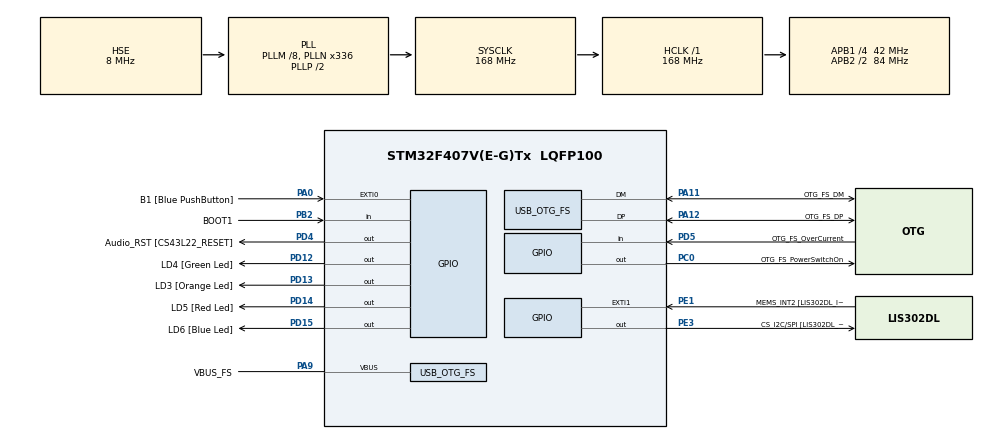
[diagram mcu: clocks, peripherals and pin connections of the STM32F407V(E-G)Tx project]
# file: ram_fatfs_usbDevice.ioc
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Mcu.Family=STM32F4
Mcu.Name=STM32F407V(E-G)Tx
Mcu.Package=LQFP100
NVIC.OTG_FS_IRQn=true\:0\:0\:false\:false\:true\:true\:true
NVIC.PriorityGroup=NVIC_PRIORITYGROUP_0
PA0-WKUP.GPIO_Label=B1 [Blue PushButton]
PA0-WKUP.GPIO_ModeDefaultEXTI=GPIO_MODE_EVT_RISING
PA0-WKUP.GPIO_PuPd=GPIO_NOPULL
PA0-WKUP.Signal=GPXTI0
PA10.GPIO_Label=OTG_FS_ID
PA10.GPIO_Mode=GPIO_MODE_AF_PP
PA10.GPIO_PuPd=GPIO_NOPULL
PA10.GPIO_Speed=GPIO_SPEED_FREQ_LOW
PA10.Signal=USB_OTG_FS_ID
PA11.GPIO_Label=OTG_FS_DM
PA11.GPIO_Mode=GPIO_MODE_AF_PP
PA11.GPIO_PuPd=GPIO_NOPULL
PA11.GPIO_Speed=GPIO_SPEED_FREQ_LOW
PA11.Mode=Device_Only
PA11.Signal=USB_OTG_FS_DM
PA12.GPIO_Label=OTG_FS_DP
PA12.GPIO_Mode=GPIO_MODE_AF_PP
PA12.GPIO_PuPd=GPIO_NOPULL
PA12.GPIO_Speed=GPIO_SPEED_FREQ_LOW
PA12.Mode=Device_Only
PA12.Signal=USB_OTG_FS_DP
PA13.GPIO_Label=SWDIO
PA13.Mode=Serial_Wire
PA13.Signal=SYS_JTMS-SWDIO
PA14.GPIO_Label=SWCLK
PA14.Mode=Serial_Wire
PA14.Signal=SYS_JTCK-SWCLK
PA4.GPIO_Label=I2S3_WS [CS43L22_LRCK]
PA4.GPIO_Mode=GPIO_MODE_AF_PP
PA4.GPIO_PuPd=GPIO_NOPULL
PA4.GPIO_Speed=GPIO_SPEED_FREQ_LOW
PA4.Signal=I2S3_WS
PA5.GPIO_Label=SPI1_SCK [LIS302DL_SCL/SPC]
PA5.GPIO_Mode=GPIO_MODE_AF_PP
PA5.GPIO_PuPd=GPIO_NOPULL
PA5.GPIO_Speed=GPIO_SPEED_FREQ_LOW
PA5.Signal=SPI1_SCK
PA6.GPIO_Label=SPI1_MISO [LIS302DL_SDO]
PA6.GPIO_Mode=GPIO_MODE_AF_PP
PA6.GPIO_PuPd=GPIO_NOPULL
PA6.GPIO_Speed=GPIO_SPEED_FREQ_LOW
PA6.Signal=SPI1_MISO
PA7.GPIO_Label=SPI1_MOSI [LIS302DL_SDA/SDI/SDO]
PA7.GPIO_Mode=GPIO_MODE_AF_PP
PA7.GPIO_PuPd=GPIO_NOPULL
PA7.GPIO_Speed=GPIO_SPEED_FREQ_LOW
PA7.Signal=SPI1_MOSI
PA9.GPIO_Label=VBUS_FS
PA9.GPIO_Mode=GPIO_MODE_INPUT
PA9.GPIO_PuPd=GPIO_NOPULL
PA9.Mode=Activate_VBUS
PA9.Signal=USB_OTG_FS_VBUS
PB10.GPIO_Label=CLK_IN [MP45DT02_CLK]
PB10.GPIO_Mode=GPIO_MODE_AF_PP
PB10.GPIO_PuPd=GPIO_NOPULL
PB10.GPIO_Speed=GPIO_SPEED_FREQ_LOW
PB10.Signal=I2S2_CK
PB2.GPIO_Label=BOOT1
PB2.GPIO_Mode=GPIO_MODE_INPUT
PB2.GPIO_PuPd=GPIO_NOPULL
PB2.Signal=GPIO_Input
PB3.GPIO_Label=SWO
PB3.Signal=SYS_JTDO-SWO
PB6.GPIO_Label=Audio_SCL [CS43L22_SCL]
PB6.GPIO_Mode=GPIO_MODE_AF_OD
PB6.GPIO_PuPd=GPIO_NOPULL
PB6.GPIO_Speed=GPIO_SPEED_FREQ_LOW
PB6.Signal=I2C1_SCL
PB9.GPIO_Label=Audio_SDA [CS43L22_SDA]
PB9.GPIO_Mode=GPIO_MODE_AF_OD
PB9.GPIO_PuPd=GPIO_NOPULL
PB9.GPIO_Speed=GPIO_SPEED_FREQ_LOW
PB9.Signal=I2C1_SDA
PC0.GPIO_Label=OTG_FS_PowerSwitchOn
PC0.GPIO_PuPd=GPIO_NOPULL
PC0.GPIO_Speed=GPIO_SPEED_FREQ_LOW
PC0.PinState=GPIO_PIN_SET
PC0.Signal=GPIO_Output
PC10.GPIO_Label=I2S3_SCK [CS43L22_SCLK]
PC10.GPIO_Mode=GPIO_MODE_AF_PP
PC10.GPIO_PuPd=GPIO_NOPULL
PC10.GPIO_Speed=GPIO_SPEED_FREQ_LOW
PC10.Signal=I2S3_CK
PC12.GPIO_Label=I2S3_SD [CS43L22_SDIN]
PC12.GPIO_Mode=GPIO_MODE_AF_PP
PC12.GPIO_PuPd=GPIO_NOPULL
PC12.GPIO_Speed=GPIO_SPEED_FREQ_LOW
PC12.Signal=I2S3_SD
PC14-OSC32_IN.GPIO_Label=PC14-OSC32_IN
PC14-OSC32_IN.Mode=LSE-External-Oscillator
PC14-OSC32_IN.Signal=RCC_OSC32_IN
PC15-OSC32_OUT.GPIO_Label=PC15-OSC32_OUT
PC15-OSC32_OUT.Mode=LSE-External-Oscillator
PC15-OSC32_OUT.Signal=RCC_OSC32_OUT
PC3.GPIO_Label=PDM_OUT [MP45DT02_DOUT]
PC3.GPIO_Mode=GPIO_MODE_AF_PP
PC3.GPIO_PuPd=GPIO_NOPULL
PC3.GPIO_Speed=GPIO_SPEED_FREQ_LOW
PC3.Signal=I2S2_SD
PC7.GPIO_Label=I2S3_MCK [CS43L22_MCLK]
PC7.GPIO_Mode=GPIO_MODE_AF_PP
PC7.GPIO_PuPd=GPIO_NOPULL
PC7.GPIO_Speed=GPIO_SPEED_FREQ_LOW
PC7.Signal=I2S3_MCK
PD12.GPIO_Label=LD4 [Green Led]
PD12.GPIO_PuPd=GPIO_NOPULL
PD12.GPIO_Speed=GPIO_SPEED_FREQ_LOW
PD12.Signal=GPIO_Output
PD13.GPIO_Label=LD3 [Orange Led]
PD13.GPIO_PuPd=GPIO_NOPULL
PD13.GPIO_Speed=GPIO_SPEED_FREQ_LOW
PD13.Signal=GPIO_Output
PD14.GPIO_Label=LD5 [Red Led]
PD14.GPIO_PuPd=GPIO_NOPULL
PD14.GPIO_Speed=GPIO_SPEED_FREQ_LOW
PD14.Signal=GPIO_Output
PD15.GPIO_Label=LD6 [Blue Led]
PD15.GPIO_PuPd=GPIO_NOPULL
PD15.GPIO_Speed=GPIO_SPEED_FREQ_LOW
PD15.Signal=GPIO_Output
PD4.GPIO_Label=Audio_RST [CS43L22_RESET]
PD4.GPIO_PuPd=GPIO_NOPULL
PD4.GPIO_Speed=GPIO_SPEED_FREQ_LOW
PD4.Signal=GPIO_Output
PD5.GPIO_Label=OTG_FS_OverCurrent
PD5.GPIO_Mode=GPIO_MODE_INPUT
PD5.GPIO_PuPd=GPIO_NOPULL
PD5.Signal=GPIO_Input
PE1.GPIO_Label=MEMS_INT2 [LIS302DL_INT2]
PE1.GPIO_ModeDefaultEXTI=GPIO_MODE_EVT_RISING
PE1.GPIO_PuPd=GPIO_NOPULL
PE1.Signal=GPXTI1
PE3.GPIO_Label=CS_I2C/SPI [LIS302DL_CS_I2C/SPI]
PE3.GPIO_PuPd=GPIO_NOPULL
PE3.GPIO_Speed=GPIO_SPEED_FREQ_LOW
PE3.Signal=GPIO_Output
PH0-OSC_IN.GPIO_Label=PH0-OSC_IN
PH0-OSC_IN.Mode=HSE-External-Oscillator
PH0-OSC_IN.Signal=RCC_OSC_IN
PH1-OSC_OUT.GPIO_Label=PH1-OSC_OUT
PH1-OSC_OUT.Mode=HSE-External-Oscillator
PH1-OSC_OUT.Signal=RCC_OSC_OUT
ProjectManager.HeapSize=0x400
ProjectManager.StackSize=0x400
ProjectManager.TargetToolchain=MDK-ARM V5.27
RCC.48MHZClocksFreq_Value=48000000
RCC.AHBFreq_Value=168000000
RCC.APB1CLKDivider=RCC_HCLK_DIV4
RCC.APB1Freq_Value=42000000
RCC.APB1TimFreq_Value=84000000
RCC.APB2CLKDivider=RCC_HCLK_DIV2
RCC.APB2Freq_Value=84000000
RCC.APB2TimFreq_Value=168000000
RCC.CortexFreq_Value=168000000
RCC.HCLKFreq_Value=168000000
RCC.HSE_VALUE=8000000
RCC.HSI_VALUE=16000000
RCC.PLLM=8
RCC.PLLN=336
RCC.PLLQ=7
RCC.SYSCLKFreq_VALUE=168000000
RCC.SYSCLKSource=RCC_SYSCLKSOURCE_PLLCLK
RCC.VCOOutputFreq_Value=336000000
USB_DEVICE.CLASS_NAME_FS=MSC
USB_DEVICE.VirtualMode-MSC_FS=Msc
USB_DEVICE.VirtualModeFS=Msc_FS
USB_OTG_FS.VirtualMode=Device_Only
VP_FATFS_VS_Generic.Mode=User_defined
VP_USB_DEVICE_VS_USB_DEVICE_MSC_FS.Mode=MSC_FS
board=STM32F407G-DISC1

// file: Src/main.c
/* USER CODE BEGIN Header */
/**
  ******************************************************************************
  * @file           : main.c
  * @brief          : Main program body
  ******************************************************************************
  * @attention
  *
  * <h2><center>&copy; Copyright (c) 2019 STMicroelectronics.
  * All rights reserved.</center></h2>
  *
  * This software component is licensed by ST under Ultimate Liberty license
  * SLA0044, the "License"; You may not use this file except in compliance with
  * the License. You may obtain a copy of the License at:
  *                             www.st.com/SLA0044
  *
  ******************************************************************************
  */
/* USER CODE END Header */

#include "main.h"
#include "fatfs.h"
#include "usb_device.h"

/* USER CODE BEGIN PV */
FATFS RAMDISKFatFs;  /* File system object for RAM disk logical drive */
FIL MyFile;          /* File object */
char RAMDISKPath[4]; /* RAM disk logical drive path */
static uint8_t buffer[_MAX_SS]; /* a work buffer for the f_mkfs() */

/* USER CODE END PV */

void SystemClock_Config(void);
static void MX_GPIO_Init(void);

/* USER CODE BEGIN 0 */
void ledAnimation(int animation){
	if(animation == 1){
		HAL_GPIO_TogglePin(GPIOD,LD3_Pin);
		HAL_Delay(50);
		HAL_GPIO_TogglePin(GPIOD,LD4_Pin);
		HAL_Delay(50);
		HAL_GPIO_TogglePin(GPIOD,LD6_Pin);
		HAL_Delay(50);
		HAL_GPIO_TogglePin(GPIOD,LD5_Pin);
		HAL_Delay(50);
	}
	if(animation == 2){
		HAL_GPIO_TogglePin(GPIOD,LD3_Pin);
		HAL_GPIO_TogglePin(GPIOD,LD4_Pin);
		HAL_GPIO_TogglePin(GPIOD,LD6_Pin);
		HAL_GPIO_TogglePin(GPIOD,LD5_Pin);
		HAL_Delay(250);
	}
}

/* USER CODE END 0 */

int main(void)
{
  /* USER CODE BEGIN 1 */
	FRESULT res;                                          /* FatFs function common result code */
  uint32_t byteswritten, bytesread;                     /* File write/read counts */
  uint8_t wtext[] = "This is STM32 working with FatFs"; /* File write buffer */
  uint8_t rtext[100];                                   /* File read buffer */

  /* USER CODE END 1 */

  /* MCU Configuration--------------------------------------------------------*/

  /* Reset of all peripherals, Initializes the Flash interface and the Systick. */
  HAL_Init();

  /* Configure the system clock */
  SystemClock_Config();

  /* Initialize all configured peripherals */
  MX_GPIO_Init();
  //MX_FATFS_Init();
  //MX_USB_DEVICE_Init();

  /* USER CODE BEGIN 2 */
	  if(FATFS_LinkDriver(&USER_Driver, RAMDISKPath) == 0)
  {
    /*##-2- Register the file system object to the FatFs module ##############*/
    if(f_mount(&RAMDISKFatFs, (TCHAR const*)RAMDISKPath, 0) != FR_OK)
    {
      /* FatFs Initialization Error */
      Error_Handler();
    }
    else
    {
      /*##-3- Create a FAT file system (format) on the logical drive #########*/
      if(f_mkfs((TCHAR const*)RAMDISKPath, FM_FAT, 0, buffer, sizeof(buffer)) != FR_OK)
      {
        /* FatFs Format Error */
        Error_Handler();
      }
      else
      {
			for(int i=0;i<10;i++) ledAnimation(1);
        /*##-4- Create and Open a new text file object with write access #####*/
      if(f_open(&MyFile, "stm32.txt", FA_CREATE_ALWAYS | FA_WRITE) != FR_OK)
      {
        /* 'STM32.TXT' file Open for write Error */
        Error_Handler();
      }
      else
      {
        /*##-5- Write data to the text file ################################*/
        res = f_write(&MyFile, wtext, sizeof(wtext), (void *)&byteswritten);

        if((byteswritten == 0) || (res != FR_OK))
        {
          /* 'STM32.TXT' file Write or EOF Error */
          Error_Handler();
        }
        else
        {
            /*##-6- Close the open text file #################################*/
          f_close(&MyFile);

            /*##-7- Open the text file object with read access ###############*/
          if(f_open(&MyFile, "STM32.TXT", FA_READ) != FR_OK)
          {
            /* 'STM32.TXT' file Open for read Error */
            Error_Handler();
          }
          else
          {
              /*##-8- Read data from the text file ###########################*/
            res = f_read(&MyFile, rtext, sizeof(rtext), (void *)&bytesread);

              if((bytesread == 0) || (res != FR_OK))
            {
              /* 'STM32.TXT' file Read or EOF Error */
              Error_Handler();
            }
            else
            {
                /*##-9- Close the open text file #############################*/
              f_close(&MyFile);

                /*##-10- Compare read data with the expected data ############*/
                if ((bytesread != byteswritten))
                {
                  /* Read data is different from the expected data */
                  Error_Handler();
                }
                else
                {
                  /* Success of the demo: no error occurrence */

                }
              }
            }
          }
        }
      }
    }
  }

	//FATFS_UnLinkDriver(RAMDISKPath);
	MX_USB_DEVICE_Init();

  /* USER CODE END 2 */

  /* Infinite loop */
  while (1)
  {

    /* USER CODE BEGIN 3 */
		for(int i=0;i<20;i++) ledAnimation(1);
		for(int i=0;i<10;i++)	ledAnimation(2);
  }
  /* USER CODE END 3 */
}

void SystemClock_Config(void)
{
  RCC_OscInitTypeDef RCC_OscInitStruct = {0};
  RCC_ClkInitTypeDef RCC_ClkInitStruct = {0};

  /** Configure the main internal regulator output voltage
  */
  __HAL_RCC_PWR_CLK_ENABLE();
  __HAL_PWR_VOLTAGESCALING_CONFIG(PWR_REGULATOR_VOLTAGE_SCALE1);
  /** Initializes the CPU, AHB and APB busses clocks
  */
  RCC_OscInitStruct.OscillatorType = RCC_OSCILLATORTYPE_HSE;
  RCC_OscInitStruct.HSEState = RCC_HSE_ON;
  RCC_OscInitStruct.PLL.PLLState = RCC_PLL_ON;
  RCC_OscInitStruct.PLL.PLLSource = RCC_PLLSOURCE_HSE;
  RCC_OscInitStruct.PLL.PLLM = 8;
  RCC_OscInitStruct.PLL.PLLN = 336;
  RCC_OscInitStruct.PLL.PLLP = RCC_PLLP_DIV2;
  RCC_OscInitStruct.PLL.PLLQ = 7;
  if (HAL_RCC_OscConfig(&RCC_OscInitStruct) != HAL_OK)
  {
    Error_Handler();
  }
  /** Initializes the CPU, AHB and APB busses clocks
  */
  RCC_ClkInitStruct.ClockType = RCC_CLOCKTYPE_HCLK|RCC_CLOCKTYPE_SYSCLK
                              |RCC_CLOCKTYPE_PCLK1|RCC_CLOCKTYPE_PCLK2;
  RCC_ClkInitStruct.SYSCLKSource = RCC_SYSCLKSOURCE_PLLCLK;
  RCC_ClkInitStruct.AHBCLKDivider = RCC_SYSCLK_DIV1;
  RCC_ClkInitStruct.APB1CLKDivider = RCC_HCLK_DIV4;
  RCC_ClkInitStruct.APB2CLKDivider = RCC_HCLK_DIV2;

  if (HAL_RCC_ClockConfig(&RCC_ClkInitStruct, FLASH_LATENCY_5) != HAL_OK)
  {
    Error_Handler();
  }
}

static void MX_GPIO_Init(void)
{
  GPIO_InitTypeDef GPIO_InitStruct = {0};

  /* GPIO Ports Clock Enable */
  __HAL_RCC_GPIOE_CLK_ENABLE();
  __HAL_RCC_GPIOC_CLK_ENABLE();
  __HAL_RCC_GPIOH_CLK_ENABLE();
  __HAL_RCC_GPIOA_CLK_ENABLE();
  __HAL_RCC_GPIOB_CLK_ENABLE();
  __HAL_RCC_GPIOD_CLK_ENABLE();

  /*Configure GPIO pin Output Level */
  HAL_GPIO_WritePin(CS_I2C_SPI_GPIO_Port, CS_I2C_SPI_Pin, GPIO_PIN_RESET);

  /*Configure GPIO pin Output Level */
  HAL_GPIO_WritePin(OTG_FS_PowerSwitchOn_GPIO_Port, OTG_FS_PowerSwitchOn_Pin, GPIO_PIN_SET);

  /*Configure GPIO pin Output Level */
  HAL_GPIO_WritePin(GPIOD, LD4_Pin|LD3_Pin|LD5_Pin|LD6_Pin
                          |Audio_RST_Pin, GPIO_PIN_RESET);

  /*Configure GPIO pin : CS_I2C_SPI_Pin */
  GPIO_InitStruct.Pin = CS_I2C_SPI_Pin;
  GPIO_InitStruct.Mode = GPIO_MODE_OUTPUT_PP;
  GPIO_InitStruct.Pull = GPIO_NOPULL;
  GPIO_InitStruct.Speed = GPIO_SPEED_FREQ_LOW;
  HAL_GPIO_Init(CS_I2C_SPI_GPIO_Port, &GPIO_InitStruct);

  /*Configure GPIO pin : OTG_FS_PowerSwitchOn_Pin */
  GPIO_InitStruct.Pin = OTG_FS_PowerSwitchOn_Pin;
  GPIO_InitStruct.Mode = GPIO_MODE_OUTPUT_PP;
  GPIO_InitStruct.Pull = GPIO_NOPULL;
  GPIO_InitStruct.Speed = GPIO_SPEED_FREQ_LOW;
  HAL_GPIO_Init(OTG_FS_PowerSwitchOn_GPIO_Port, &GPIO_InitStruct);

  /*Configure GPIO pin : PDM_OUT_Pin */
  GPIO_InitStruct.Pin = PDM_OUT_Pin;
  GPIO_InitStruct.Mode = GPIO_MODE_AF_PP;
  GPIO_InitStruct.Pull = GPIO_NOPULL;
  GPIO_InitStruct.Speed = GPIO_SPEED_FREQ_LOW;
  GPIO_InitStruct.Alternate = GPIO_AF5_SPI2;
  HAL_GPIO_Init(PDM_OUT_GPIO_Port, &GPIO_InitStruct);

  /*Configure GPIO pin : B1_Pin */
  GPIO_InitStruct.Pin = B1_Pin;
  GPIO_InitStruct.Mode = GPIO_MODE_EVT_RISING;
  GPIO_InitStruct.Pull = GPIO_NOPULL;
  HAL_GPIO_Init(B1_GPIO_Port, &GPIO_InitStruct);

  /*Configure GPIO pin : I2S3_WS_Pin */
  GPIO_InitStruct.Pin = I2S3_WS_Pin;
  GPIO_InitStruct.Mode = GPIO_MODE_AF_PP;
  GPIO_InitStruct.Pull = GPIO_NOPULL;
  GPIO_InitStruct.Speed = GPIO_SPEED_FREQ_LOW;
  GPIO_InitStruct.Alternate = GPIO_AF6_SPI3;
  HAL_GPIO_Init(I2S3_WS_GPIO_Port, &GPIO_InitStruct);

  /*Configure GPIO pins : SPI1_SCK_Pin SPI1_MISO_Pin SPI1_MOSI_Pin */
  GPIO_InitStruct.Pin = SPI1_SCK_Pin|SPI1_MISO_Pin|SPI1_MOSI_Pin;
  GPIO_InitStruct.Mode = GPIO_MODE_AF_PP;
  GPIO_InitStruct.Pull = GPIO_NOPULL;
  GPIO_InitStruct.Speed = GPIO_SPEED_FREQ_LOW;
  GPIO_InitStruct.Alternate = GPIO_AF5_SPI1;
  HAL_GPIO_Init(GPIOA, &GPIO_InitStruct);

  /*Configure GPIO pin : BOOT1_Pin */
  GPIO_InitStruct.Pin = BOOT1_Pin;
  GPIO_InitStruct.Mode = GPIO_MODE_INPUT;
  GPIO_InitStruct.Pull = GPIO_NOPULL;
  HAL_GPIO_Init(BOOT1_GPIO_Port, &GPIO_InitStruct);

  /*Configure GPIO pin : CLK_IN_Pin */
  GPIO_InitStruct.Pin = CLK_IN_Pin;
  GPIO_InitStruct.Mode = GPIO_MODE_AF_PP;
  GPIO_InitStruct.Pull = GPIO_NOPULL;
  GPIO_InitStruct.Speed = GPIO_SPEED_FREQ_LOW;
  GPIO_InitStruct.Alternate = GPIO_AF5_SPI2;
  HAL_GPIO_Init(CLK_IN_GPIO_Port, &GPIO_InitStruct);

  /*Configure GPIO pins : LD4_Pin LD3_Pin LD5_Pin LD6_Pin
                           Audio_RST_Pin */
  GPIO_InitStruct.Pin = LD4_Pin|LD3_Pin|LD5_Pin|LD6_Pin
                          |Audio_RST_Pin;
  GPIO_InitStruct.Mode = GPIO_MODE_OUTPUT_PP;
  GPIO_InitStruct.Pull = GPIO_NOPULL;
  GPIO_InitStruct.Speed = GPIO_SPEED_FREQ_LOW;
  HAL_GPIO_Init(GPIOD, &GPIO_InitStruct);

  /*Configure GPIO pins : I2S3_MCK_Pin I2S3_SCK_Pin I2S3_SD_Pin */
  GPIO_InitStruct.Pin = I2S3_MCK_Pin|I2S3_SCK_Pin|I2S3_SD_Pin;
  GPIO_InitStruct.Mode = GPIO_MODE_AF_PP;
  GPIO_InitStruct.Pull = GPIO_NOPULL;
  GPIO_InitStruct.Speed = GPIO_SPEED_FREQ_LOW;
  GPIO_InitStruct.Alternate = GPIO_AF6_SPI3;
  HAL_GPIO_Init(GPIOC, &GPIO_InitStruct);

  /*Configure GPIO pin : OTG_FS_OverCurrent_Pin */
  GPIO_InitStruct.Pin = OTG_FS_OverCurrent_Pin;
  GPIO_InitStruct.Mode = GPIO_MODE_INPUT;
  GPIO_InitStruct.Pull = GPIO_NOPULL;
  HAL_GPIO_Init(OTG_FS_OverCurrent_GPIO_Port, &GPIO_InitStruct);

  /*Configure GPIO pins : Audio_SCL_Pin Audio_SDA_Pin */
  GPIO_InitStruct.Pin = Audio_SCL_Pin|Audio_SDA_Pin;
  GPIO_InitStruct.Mode = GPIO_MODE_AF_OD;
  GPIO_InitStruct.Pull = GPIO_PULLUP;
  GPIO_InitStruct.Speed = GPIO_SPEED_FREQ_LOW;
  GPIO_InitStruct.Alternate = GPIO_AF4_I2C1;
  HAL_GPIO_Init(GPIOB, &GPIO_InitStruct);

  /*Configure GPIO pin : MEMS_INT2_Pin */
  GPIO_InitStruct.Pin = MEMS_INT2_Pin;
  GPIO_InitStruct.Mode = GPIO_MODE_EVT_RISING;
  GPIO_InitStruct.Pull = GPIO_NOPULL;
  HAL_GPIO_Init(MEMS_INT2_GPIO_Port, &GPIO_InitStruct);

}

void Error_Handler(void)
{
}

/************************ (C) COPYRIGHT STMicroelectronics *****END OF FILE****/
